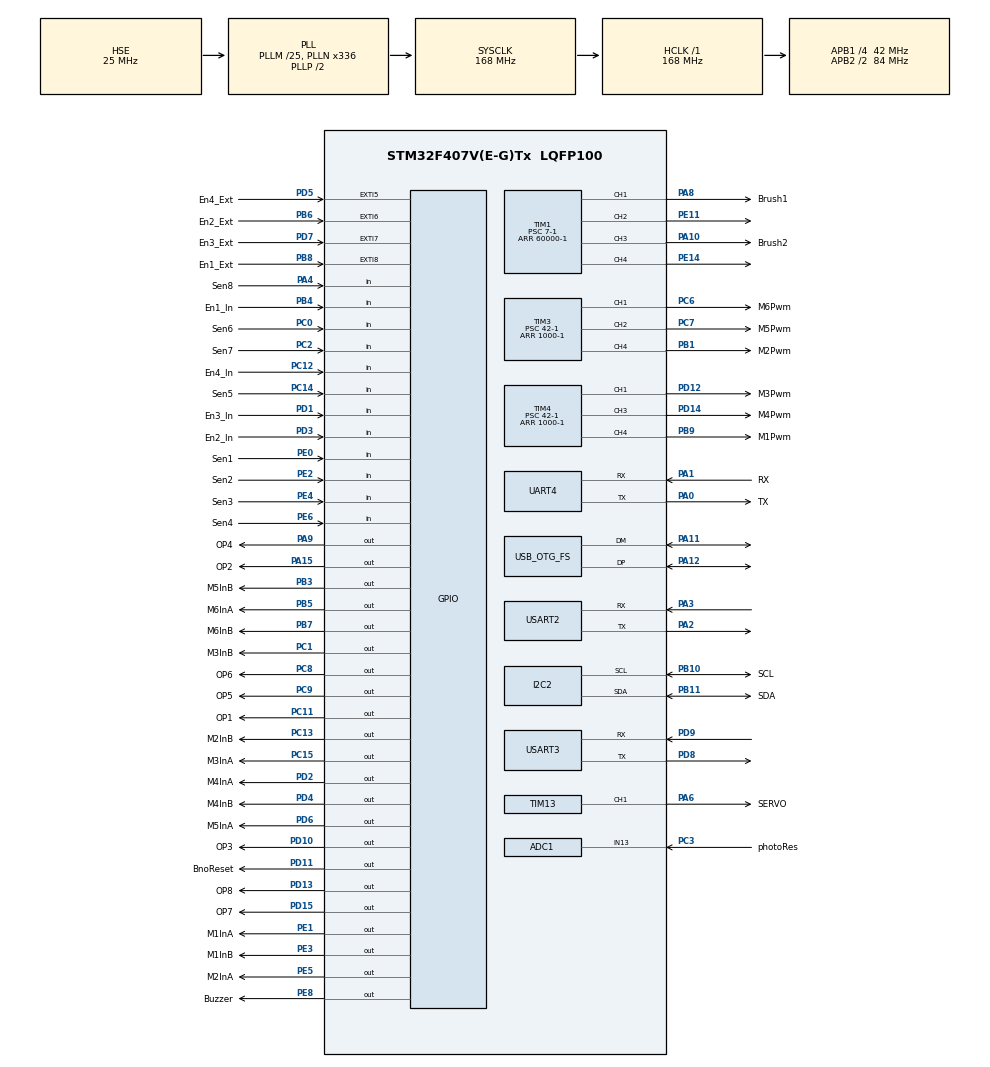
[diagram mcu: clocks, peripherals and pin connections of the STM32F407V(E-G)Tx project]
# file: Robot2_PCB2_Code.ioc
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ADC1.Channel-0\#ChannelRegularConversion=ADC_CHANNEL_13
ADC1.NbrOfConversionFlag=1
ADC1.Rank-0\#ChannelRegularConversion=1
ADC1.SamplingTime-0\#ChannelRegularConversion=ADC_SAMPLETIME_3CYCLES
ADC1.master=1
Dma.Request0=UART4_TX
Dma.UART4_TX.0.Direction=DMA_MEMORY_TO_PERIPH
Dma.UART4_TX.0.FIFOMode=DMA_FIFOMODE_DISABLE
Dma.UART4_TX.0.Instance=DMA1_Stream4
Dma.UART4_TX.0.MemDataAlignment=DMA_MDATAALIGN_BYTE
Dma.UART4_TX.0.MemInc=DMA_MINC_ENABLE
Dma.UART4_TX.0.Mode=DMA_NORMAL
Dma.UART4_TX.0.PeriphDataAlignment=DMA_PDATAALIGN_BYTE
Dma.UART4_TX.0.PeriphInc=DMA_PINC_DISABLE
Dma.UART4_TX.0.Priority=DMA_PRIORITY_LOW
I2C2.I2C_Mode=I2C_Fast
Mcu.Family=STM32F4
Mcu.Name=STM32F407V(E-G)Tx
Mcu.Package=LQFP100
NVIC.DMA1_Stream4_IRQn=true\:0\:0\:false\:false\:true\:false\:true\:true
NVIC.EXTI9_5_IRQn=true\:0\:0\:false\:false\:true\:true\:true\:true
NVIC.OTG_FS_IRQn=true\:0\:0\:false\:false\:true\:false\:true\:true
NVIC.PriorityGroup=NVIC_PRIORITYGROUP_4
NVIC.TIM7_IRQn=true\:0\:0\:false\:false\:true\:true\:true\:true
NVIC.USART2_IRQn=true\:0\:0\:false\:false\:true\:true\:true\:true
NVIC.USART3_IRQn=true\:0\:0\:false\:false\:true\:true\:true\:true
PA0-WKUP.GPIO_Label=TX
PA0-WKUP.Mode=Asynchronous
PA0-WKUP.Signal=UART4_TX
PA1.GPIO_Label=RX
PA1.Mode=Asynchronous
PA1.Signal=UART4_RX
PA10.GPIO_Label=Brush2
PA10.Signal=S_TIM1_CH3
PA11.Mode=Device_Only
PA11.Signal=USB_OTG_FS_DM
PA12.Mode=Device_Only
PA12.Signal=USB_OTG_FS_DP
PA13.Mode=Serial_Wire
PA13.Signal=SYS_JTMS-SWDIO
PA14.Mode=Serial_Wire
PA14.Signal=SYS_JTCK-SWCLK
PA15.GPIO_Label=OP2
PA15.Signal=GPIO_Output
PA2.Mode=Asynchronous
PA2.Signal=USART2_TX
PA3.Mode=Asynchronous
PA3.Signal=USART2_RX
PA4.GPIO_Label=Sen8
PA4.GPIO_PuPd=GPIO_PULLUP
PA4.Signal=GPIO_Input
PA6.GPIO_Label=SERVO
PA6.Signal=S_TIM13_CH1
PA8.GPIO_Label=Brush1
PA8.Signal=S_TIM1_CH1
PA9.GPIO_Label=OP4
PA9.Signal=GPIO_Output
PB1.GPIO_Label=M2Pwm
PB1.Signal=S_TIM3_CH4
PB10.GPIO_Label=SCL
PB10.Mode=I2C
PB10.Signal=I2C2_SCL
PB11.GPIO_Label=SDA
PB11.Mode=I2C
PB11.Signal=I2C2_SDA
PB3.GPIO_Label=M5InB
PB3.Signal=GPIO_Output
PB4.GPIO_Label=En1_In
PB4.GPIO_PuPd=GPIO_PULLUP
PB4.Signal=GPIO_Input
PB5.GPIO_Label=M6InA
PB5.Signal=GPIO_Output
PB6.GPIO_Label=En2_Ext
PB6.GPIO_ModeDefaultEXTI=GPIO_MODE_IT_RISING
PB6.Signal=GPXTI6
PB7.GPIO_Label=M6InB
PB7.Signal=GPIO_Output
PB8.GPIO_Label=En1_Ext
PB8.Signal=GPXTI8
PB9.GPIO_Label=M1Pwm
PB9.Signal=S_TIM4_CH4
PC0.GPIO_Label=Sen6
PC0.GPIO_PuPd=GPIO_PULLUP
PC0.Signal=GPIO_Input
PC1.GPIO_Label=M3InB
PC1.Signal=GPIO_Output
PC11.GPIO_Label=OP1
PC11.Signal=GPIO_Output
PC12.GPIO_Label=En4_In
PC12.GPIO_PuPd=GPIO_PULLUP
PC12.Signal=GPIO_Input
PC13-ANTI_TAMP.GPIO_Label=M2InB
PC13-ANTI_TAMP.Signal=GPIO_Output
PC14-OSC32_IN.GPIO_Label=Sen5
PC14-OSC32_IN.GPIO_PuPd=GPIO_PULLUP
PC14-OSC32_IN.Signal=GPIO_Input
PC15-OSC32_OUT.GPIO_Label=M3InA
PC15-OSC32_OUT.Signal=GPIO_Output
PC2.GPIO_Label=Sen7
PC2.GPIO_PuPd=GPIO_PULLUP
PC2.Signal=GPIO_Input
PC3.GPIO_Label=photoRes
PC3.Signal=SharedAnalog_PC3
PC6.GPIO_Label=M6Pwm
PC6.Signal=S_TIM3_CH1
PC7.GPIO_Label=M5Pwm
PC7.Signal=S_TIM3_CH2
PC8.GPIO_Label=OP6
PC8.Signal=GPIO_Output
PC9.GPIO_Label=OP5
PC9.Signal=GPIO_Output
PD1.GPIO_Label=En3_In
PD1.GPIO_PuPd=GPIO_PULLUP
PD1.Signal=GPIO_Input
PD10.GPIO_Label=OP3
PD10.Signal=GPIO_Output
PD11.GPIO_Label=BnoReset
PD11.Signal=GPIO_Output
PD12.GPIO_Label=M3Pwm
PD12.Signal=S_TIM4_CH1
PD13.GPIO_Label=OP8
PD13.Signal=GPIO_Output
PD14.GPIO_Label=M4Pwm
PD14.Signal=S_TIM4_CH3
PD15.GPIO_Label=OP7
PD15.Signal=GPIO_Output
PD2.GPIO_Label=M4InA
PD2.Signal=GPIO_Output
PD3.GPIO_Label=En2_In
PD3.GPIO_PuPd=GPIO_PULLUP
PD3.Signal=GPIO_Input
PD4.GPIO_Label=M4InB
PD4.Signal=GPIO_Output
PD5.GPIO_Label=En4_Ext
PD5.Signal=GPXTI5
PD6.GPIO_Label=M5InA
PD6.Signal=GPIO_Output
PD7.GPIO_Label=En3_Ext
PD7.Signal=GPXTI7
PD8.Mode=Asynchronous
PD8.Signal=USART3_TX
PD9.Mode=Asynchronous
PD9.Signal=USART3_RX
PE0.GPIO_Label=Sen1
PE0.GPIO_PuPd=GPIO_PULLUP
PE0.Signal=GPIO_Input
PE1.GPIO_Label=M1InA
PE1.Signal=GPIO_Output
PE11.Signal=S_TIM1_CH2
PE14.Signal=S_TIM1_CH4
PE2.GPIO_Label=Sen2
PE2.GPIO_PuPd=GPIO_PULLUP
PE2.Signal=GPIO_Input
PE3.GPIO_Label=M1InB
PE3.Signal=GPIO_Output
PE4.GPIO_Label=Sen3
PE4.GPIO_PuPd=GPIO_PULLUP
PE4.Signal=GPIO_Input
PE5.GPIO_Label=M2InA
PE5.Signal=GPIO_Output
PE6.GPIO_Label=Sen4
PE6.GPIO_PuPd=GPIO_PULLUP
PE6.Signal=GPIO_Input
PE8.GPIO_Label=Buzzer
PE8.Signal=GPIO_Output
PH0-OSC_IN.Mode=HSE-External-Oscillator
PH0-OSC_IN.Signal=RCC_OSC_IN
PH1-OSC_OUT.Mode=HSE-External-Oscillator
PH1-OSC_OUT.Signal=RCC_OSC_OUT
ProjectManager.HeapSize=0x200
ProjectManager.StackSize=0x400
ProjectManager.TargetToolchain=CMake
RCC.48MHZClocksFreq_Value=48000000
RCC.AHBFreq_Value=168000000
RCC.APB1CLKDivider=RCC_HCLK_DIV4
RCC.APB1Freq_Value=42000000
RCC.APB1TimFreq_Value=84000000
RCC.APB2CLKDivider=RCC_HCLK_DIV2
RCC.APB2Freq_Value=84000000
RCC.APB2TimFreq_Value=168000000
RCC.CortexFreq_Value=168000000
RCC.HCLKFreq_Value=168000000
RCC.HSE_VALUE=25000000
RCC.HSI_VALUE=16000000
RCC.LSE_VALUE=32768
RCC.PLLM=25
RCC.PLLN=336
RCC.PLLQ=7
RCC.SYSCLKFreq_VALUE=168000000
RCC.SYSCLKSource=RCC_SYSCLKSOURCE_PLLCLK
RCC.VCOOutputFreq_Value=336000000
SH.S_TIM13_CH1.0=TIM13_CH1,PWM Generation1 CH1
SH.S_TIM1_CH1.0=TIM1_CH1,PWM Generation1 CH1
SH.S_TIM1_CH2.0=TIM1_CH2,PWM Generation2 CH2
SH.S_TIM1_CH3.0=TIM1_CH3,PWM Generation3 CH3
SH.S_TIM1_CH4.0=TIM1_CH4,PWM Generation4 CH4
SH.S_TIM3_CH1.0=TIM3_CH1,PWM Generation1 CH1
SH.S_TIM3_CH2.0=TIM3_CH2,PWM Generation2 CH2
SH.S_TIM3_CH4.0=TIM3_CH4,PWM Generation4 CH4
SH.S_TIM4_CH1.0=TIM4_CH1,PWM Generation1 CH1
SH.S_TIM4_CH3.0=TIM4_CH3,PWM Generation3 CH3
SH.S_TIM4_CH4.0=TIM4_CH4,PWM Generation4 CH4
SH.SharedAnalog_PC3.0=GPIO_Analog
SH.SharedAnalog_PC3.1=ADC1_IN13,IN13
TIM1.Channel-PWM\ Generation1\ CH1=TIM_CHANNEL_1
TIM1.Channel-PWM\ Generation2\ CH2=TIM_CHANNEL_2
TIM1.Channel-PWM\ Generation3\ CH3=TIM_CHANNEL_3
TIM1.Channel-PWM\ Generation4\ CH4=TIM_CHANNEL_4
TIM1.Period=60000-1
TIM1.Prescaler=7-1
TIM13.Channel=TIM_CHANNEL_1
TIM13.Period=19999
TIM13.Prescaler=83
TIM13.Pulse=1500
TIM3.Channel-PWM\ Generation1\ CH1=TIM_CHANNEL_1
TIM3.Channel-PWM\ Generation2\ CH2=TIM_CHANNEL_2
TIM3.Channel-PWM\ Generation4\ CH4=TIM_CHANNEL_4
TIM3.Period=1000-1
TIM3.Prescaler=42-1
TIM4.Channel-PWM\ Generation1\ CH1=TIM_CHANNEL_1
TIM4.Channel-PWM\ Generation3\ CH3=TIM_CHANNEL_3
TIM4.Channel-PWM\ Generation4\ CH4=TIM_CHANNEL_4
TIM4.Period=1000-1
TIM4.Prescaler=42-1
TIM7.Period=1000-1
TIM7.Prescaler=42-1
UART4.VirtualMode=Asynchronous
USART2.VirtualMode=VM_ASYNC
USART3.VirtualMode=VM_ASYNC
USB_DEVICE.CLASS_NAME_FS=CDC
USB_DEVICE.VirtualMode-CDC_FS=Cdc
USB_DEVICE.VirtualModeFS=Cdc_FS
USB_OTG_FS.VirtualMode=Device_Only
VP_TIM13_VS_ClockSourceINT.Mode=Enable_Timer
VP_TIM1_VS_ClockSourceINT.Mode=Internal
VP_TIM4_VS_ClockSourceINT.Mode=Internal
VP_TIM7_VS_ClockSourceINT.Mode=Enable_Timer
VP_USB_DEVICE_VS_USB_DEVICE_CDC_FS.Mode=CDC_FS
board=custom

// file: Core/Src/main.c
/* USER CODE BEGIN Header */
/**
 ******************************************************************************
 * @file           : main.c
 * @brief          : Main program body
 ******************************************************************************
 * @attention
 *
 * Copyright (c) 2025 STMicroelectronics.
 * All rights reserved.
 *
 * This software is licensed under terms that can be found in the LICENSE file
 * in the root directory of this software component.
 * If no LICENSE file comes with this software, it is provided AS-IS.
 *
 ******************************************************************************
 */
/* USER CODE END Header */
#include "main.h"
#include "usb_device.h"

/* USER CODE BEGIN Includes */
#include "general.h"
#include "test.h"
#include <stdio.h>
/* USER CODE END Includes */

ADC_HandleTypeDef hadc1;

I2C_HandleTypeDef hi2c2;

TIM_HandleTypeDef htim1;
TIM_HandleTypeDef htim3;
TIM_HandleTypeDef htim4;
TIM_HandleTypeDef htim7;
TIM_HandleTypeDef htim13;

UART_HandleTypeDef huart4;
UART_HandleTypeDef huart2;
UART_HandleTypeDef huart3;
DMA_HandleTypeDef hdma_uart4_tx;

void SystemClock_Config(void);
static void MX_GPIO_Init(void);
static void MX_DMA_Init(void);
static void MX_I2C2_Init(void);
static void MX_TIM1_Init(void);
static void MX_UART4_Init(void);
static void MX_USART3_UART_Init(void);
static void MX_TIM3_Init(void);
static void MX_TIM4_Init(void);
static void MX_TIM7_Init(void);
static void MX_TIM13_Init(void);
static void MX_ADC1_Init(void);
static void MX_USART2_UART_Init(void);
/* USER CODE BEGIN PFP */

int control_data[5][4] = {0};

void send_DMA(uint8_t command) {
  HAL_UART_Transmit(&huart4, &command, 1, HAL_MAX_DELAY);
}
uint8_t information[23]; // шинэ урт
uint8_t rx_idx = 0;
uint8_t data;

/* ---- USART2: 1-р PCB-ээс ирэх PS5 багц (PA3 = RX) ----------------------- */
uint8_t link_byte = 0;             // HAL-ийн RX буфер (1 байт)
volatile uint32_t link_byte_n = 0; // нийт ирсэн байт (утас/baud шалгах)
volatile uint32_t link_pkt = 0;    // бүрэн задарсан багц (framing шалгах)
volatile uint32_t link_ms = 0; // сүүлийн БАГЦ ирсэн агшин (хуучирсныг мэдэх)

/* ---- PCB1-ээс GRAB команд [0xC1][0xC2][type][0x0A] (PS5-тэй нэг шугам) ----
 */
volatile uint8_t grab_request =
    0; // 1 = PCB1 grab хүслээ (Tactic_Task боловсруулна)
volatile uint8_t grab_type = 0;    // 0 = down_20, 1 = up_20 (платформ)
static uint8_t grab_cmd_state = 0; // командын задлагчийн төлөв
static uint8_t grab_type_rx =
    0; // задлаж буй төрөл (терминаторт grab_type-д хийнэ)

/* ---- PCB1-ээс QUERY команд [0xC3][block][0x0A] — "энд grab уу?" --------- */
volatile uint8_t query_request = 0; // 1 = PCB1 асуув (Tactic_Task хариулна)
volatile uint8_t query_block = 0;   // асуусан блок (1..12)
static uint8_t query_cmd_state = 0;
static uint8_t query_block_tmp = 0;

/* -----------------------------------------------------------------------------
 *  HAL_UART_RxCpltCallback — ESP32-оос ирсэн PS5 багцыг задлах (huart3, 1
 * байт/удаа)
 *
 *  Багц: 23 байт,  [0]=0xAA (START) ... [22]=0x0A (END),  [21]=холболтын флаг.
 *  START байт хүлээж, 23 байт бүрдэхэд задалж control_data[5][4]-д хийнэ.
 *
 *  ─ Джойстик (information[1..4] − 100 → control_data[0][0..3], утга −100..100)
 * ─ control_data[0][0] = Зүүн стик X       control_data[0][2] = Баруун стик X
 *      control_data[0][1] = Зүүн стик Y       control_data[0][3] = Баруун стик
 * Y
 *
 *  ─ Товч (information[5..20] → control_data[1..4][0..3], утга 0/1) ─
 *      control_data[1][0]=Cross    [1][1]=Square   [1][2]=Triangle
 * [1][3]=Circle control_data[2][0]=D-Down   [2][1]=D-Right  [2][2]=D-Up
 * [2][3]=D-Left control_data[3][0]=L1       [3][1]=R1       [3][2]=L2 [3][3]=R2
 *      control_data[4][0]=Share    [4][1]=Options  [4][2]=L3       [4][3]=R3
 *
 *  Холбогдоогүй (флаг = 0) бол бүх утгыг 0 болгож цэвэрлэнэ.
 * -----------------------------------------------------------------------------
 */
/* -----------------------------------------------------------------------------
 *  ps5_feed — Нэг байтыг PS5 багц задлагчид оруулах (framing state machine)
 *
 *  USART2 (1-р PCB-ээс) ба USART3 (ESP32) хоёуланд НИЙТЛЭГ. Энэ самбарт PS5-ийн
 *  донгл БАЙХГҮЙ — өгөгдөл нь 1-р PCB-ээс дамжиж ирнэ. PCB1 нь ESP32-оос ирсэн
 *  23 байтыг ЯГ ТЭР ХЭВЭЭР нь дамжуулдаг тул задлагч НЭГ Л ХУВИЛБАР байна —
 *  хоёр газар тусад нь бичвэл хожим формат зөрөх эрсдэлтэй.
 * -----------------------------------------------------------------------------
 */
static void ps5_feed(uint8_t b) {
  if (rx_idx == 0 && b != 0xAA)
    return; // START хүлээж байна

  information[rx_idx++] = b;

  if (rx_idx == 23 && information[22] == 0x0A) {
    uint8_t isConnected = information[21];

    if (isConnected == 1) {
      // --- Джойстик: information[1..4] → control_data[0][0..3], төв 100-г
      // хасаж -100..100 ---
      //   [0][0]=LStickX  [0][1]=LStickY  [0][2]=RStickX  [0][3]=RStickY
      for (int i = 0; i < 4; i++) {
        control_data[0][i] = information[1 + i] - 100;
      }

      // --- Товч: information[5..20] → control_data[1..4][0..3] (0/1) ---
      //   мөр 1 = Cross/Square/Triangle/Circle
      //   мөр 2 = D-pad Down/Right/Up/Left
      //   мөр 3 = L1/R1/L2/R2
      //   мөр 4 = Share/Options/L3/R3
      for (int i = 0; i < 16; i++) {
        control_data[1 + (i / 4)][i % 4] = information[5 + i];
      }

    } else {
      // --- Холбогдоогүй: бүх джойстик/товчийг тэглэх ---
      for (int i = 0; i < 5; i++) {
        for (int j = 0; j < 4; j++) {
          control_data[i][j] = 0;
        }
      }
    }

    link_pkt++; // бүрэн багц (Link_Recv_Test харуулна)
    link_ms = HAL_GetTick();
    rx_idx = 0;
  } else if (rx_idx >= 23) {
    rx_idx = 0; // урт таарсан ч END байт буруу → хаяна
  }
}

void HAL_UART_RxCpltCallback(UART_HandleTypeDef *huart) {
  if (huart == &huart3) {
    /* --- ЭНЭ САМБАРЫН ESP32 (USART3) — ОДОО АШИГЛАХГҮЙ ---
     *  PS5 удирдлага PCB1-ээс USART2-оор ирдэг. Тактик нь PCB1-ийн joystick-аар
     *  (control_data) энэ самбарт засагдаж, route-ыг USART2 TX-ээр PCB1 руу
     *  буцаадаг. huart3-ыг зөвхөн соруулж (drain) дахин зэвсэглэнэ. */
    HAL_UART_Receive_IT(&huart3, &data, 1);
  } else if (huart == &huart2) {
    /* --- 1-р PCB-ээс ирэх PS5 багц (USART2, PA3) — ҮНДСЭН УДИРДЛАГА ---
     *  PCB1 нь ESP32-оос ирсэн 23 байтыг ЯГ ТЭР ХЭВЭЭР нь дамжуулдаг тул ижил
     *  задлагчаар (ps5_feed) шууд control_data-д хийж болно — формат хэзээ ч
     *  зөрөхгүй. Ингэснээр PCB2_Manual (case 0) энэ control_data-г уншиж
     *  моторуудаа хөдөлгөнө.
     *
     *  link_byte_n — түүхий байт тоологч (утас/baud шалгах); link_pkt-ыг
     *  ps5_feed бүрэн багц бүрдэхэд өсгөнө. */

    /* GRAB команд [0xC1][0xC2][type][0x0A]-ыг ялгах (PS5 багцууд хооронд ирнэ)
     */
    switch (grab_cmd_state) {
    case 0:
      grab_cmd_state = (link_byte == 0xC1) ? 1 : 0;
      break;
    case 1:
      grab_cmd_state = (link_byte == 0xC2) ? 2 : (link_byte == 0xC1 ? 1 : 0);
      break;
    case 2:
      grab_type_rx = link_byte;
      grab_cmd_state = 3;
      break; // төрөл байт (0=down 1=up)
    default:
      if (link_byte == 0x0A) {
        grab_request = 1;
        grab_type = grab_type_rx;
      }
      grab_cmd_state = 0;
      break;
    }

    /* QUERY команд [0xC3][block][0x0A] — "энэ блок дээр grab уу?" */
    switch (query_cmd_state) {
    case 0:
      query_cmd_state = (link_byte == 0xC3) ? 1 : 0;
      break;
    case 1:
      query_block_tmp = link_byte;
      query_cmd_state = 2;
      break;
    default:
      if (link_byte == 0x0A) {
        query_block = query_block_tmp;
        query_request = 1;
      }
      query_cmd_state = 0;
      break;
    }

    ps5_feed(link_byte);
    link_byte_n++;
    link_ms = HAL_GetTick();
    HAL_UART_Receive_IT(&huart2, &link_byte, 1);
  }
}

/* USER CODE END PFP */

/* USER CODE BEGIN 0 */

extern int timer;
extern int counter[4];

uint8_t usb_received_value = 0;
uint8_t usb_new_data_flag = 0;

/* USER CODE END 0 */

int main(void) {

  /* MCU Configuration--------------------------------------------------------*/

  /* Reset of all peripherals, Initializes the Flash interface and the Systick.
   */

  HAL_Init();

  /* Configure the system clock */
  SystemClock_Config();

  /* Initialize all configured peripherals */
  MX_GPIO_Init();
  MX_DMA_Init();
  MX_I2C2_Init();
  MX_TIM1_Init();
  MX_UART4_Init();
  MX_USART3_UART_Init();
  MX_TIM3_Init();
  MX_TIM4_Init();
  MX_TIM7_Init();
  MX_TIM13_Init();
  MX_ADC1_Init();
  MX_USB_DEVICE_Init();
  MX_USART2_UART_Init();
  /* USER CODE BEGIN 2 */
  generalInit();

  /* USART2 (PA3) — 1-р PCB-ээс өгөгдөл хүлээж эхлэх. generalInit нь зөвхөн
     huart3-ыг (PS5/ESP32) зэвсэглэдэг тул үүнийг энд тусад нь хийнэ.      */
  HAL_UART_Receive_IT(&huart2, &link_byte, 1);

  /* ===== ГОРИМ СОНГОХ =====
   *  Share = дараах горим,  Options = сонгох.  БУЦАХГҮЙ — сонгосон горим
   *  өөрийн while(true)-д үлдэнэ. Мөн энэ нь эхлүүлэх хамгаалалт болно:
   *  robot тэжээл өгмөгц дүүлэхгүй, товч дартал хүлээнэ.                    */
  selectMode();
  /* USER CODE END 2 */

  /* Infinite loop */
  /* USER CODE BEGIN WHILE */

  /* selectMode() БУЦАХГҮЙ — горим бүр өөрийн while(true)-д үлддэг.
     Энд хүрэх нь зөвхөн ямар нэг зүйл буруудсан гэсэн үг.               */
  while (1) {
  }
  /* USER CODE END WHILE */

}

void SystemClock_Config(void) {
  RCC_OscInitTypeDef RCC_OscInitStruct = {0};
  RCC_ClkInitTypeDef RCC_ClkInitStruct = {0};

  /** Configure the main internal regulator output voltage
   */
  __HAL_RCC_PWR_CLK_ENABLE();
  __HAL_PWR_VOLTAGESCALING_CONFIG(PWR_REGULATOR_VOLTAGE_SCALE1);

  /** Initializes the RCC Oscillators according to the specified parameters
   * in the RCC_OscInitTypeDef structure.
   */
  RCC_OscInitStruct.OscillatorType = RCC_OSCILLATORTYPE_HSE;
  RCC_OscInitStruct.HSEState = RCC_HSE_ON;
  RCC_OscInitStruct.PLL.PLLState = RCC_PLL_ON;
  RCC_OscInitStruct.PLL.PLLSource = RCC_PLLSOURCE_HSE;
  RCC_OscInitStruct.PLL.PLLM = 25;
  RCC_OscInitStruct.PLL.PLLN = 336;
  RCC_OscInitStruct.PLL.PLLP = RCC_PLLP_DIV2;
  RCC_OscInitStruct.PLL.PLLQ = 7;
  if (HAL_RCC_OscConfig(&RCC_OscInitStruct) != HAL_OK) {
    Error_Handler();
  }

  /** Initializes the CPU, AHB and APB buses clocks
   */
  RCC_ClkInitStruct.ClockType = RCC_CLOCKTYPE_HCLK | RCC_CLOCKTYPE_SYSCLK |
                                RCC_CLOCKTYPE_PCLK1 | RCC_CLOCKTYPE_PCLK2;
  RCC_ClkInitStruct.SYSCLKSource = RCC_SYSCLKSOURCE_PLLCLK;
  RCC_ClkInitStruct.AHBCLKDivider = RCC_SYSCLK_DIV1;
  RCC_ClkInitStruct.APB1CLKDivider = RCC_HCLK_DIV4;
  RCC_ClkInitStruct.APB2CLKDivider = RCC_HCLK_DIV2;

  if (HAL_RCC_ClockConfig(&RCC_ClkInitStruct, FLASH_LATENCY_5) != HAL_OK) {
    Error_Handler();
  }
}

static void MX_ADC1_Init(void) {

  ADC_ChannelConfTypeDef sConfig = {0};

  /** Configure the global features of the ADC (Clock, Resolution, Data
   * Alignment and number of conversion)
   */
  hadc1.Instance = ADC1;
  hadc1.Init.ClockPrescaler = ADC_CLOCK_SYNC_PCLK_DIV4;
  hadc1.Init.Resolution = ADC_RESOLUTION_12B;
  hadc1.Init.ScanConvMode = DISABLE;
  hadc1.Init.ContinuousConvMode = DISABLE;
  hadc1.Init.DiscontinuousConvMode = DISABLE;
  hadc1.Init.ExternalTrigConvEdge = ADC_EXTERNALTRIGCONVEDGE_NONE;
  hadc1.Init.ExternalTrigConv = ADC_SOFTWARE_START;
  hadc1.Init.DataAlign = ADC_DATAALIGN_RIGHT;
  hadc1.Init.NbrOfConversion = 1;
  hadc1.Init.DMAContinuousRequests = DISABLE;
  hadc1.Init.EOCSelection = ADC_EOC_SINGLE_CONV;
  if (HAL_ADC_Init(&hadc1) != HAL_OK) {
    Error_Handler();
  }

  /** Configure for the selected ADC regular channel its corresponding rank in
   * the sequencer and its sample time.
   */
  sConfig.Channel = ADC_CHANNEL_13;
  sConfig.Rank = 1;
  sConfig.SamplingTime = ADC_SAMPLETIME_3CYCLES;
  if (HAL_ADC_ConfigChannel(&hadc1, &sConfig) != HAL_OK) {
    Error_Handler();
  }
}

static void MX_I2C2_Init(void) {

  hi2c2.Instance = I2C2;
  hi2c2.Init.ClockSpeed = 400000;
  hi2c2.Init.DutyCycle = I2C_DUTYCYCLE_2;
  hi2c2.Init.OwnAddress1 = 0;
  hi2c2.Init.AddressingMode = I2C_ADDRESSINGMODE_7BIT;
  hi2c2.Init.DualAddressMode = I2C_DUALADDRESS_DISABLE;
  hi2c2.Init.OwnAddress2 = 0;
  hi2c2.Init.GeneralCallMode = I2C_GENERALCALL_DISABLE;
  hi2c2.Init.NoStretchMode = I2C_NOSTRETCH_DISABLE;
  if (HAL_I2C_Init(&hi2c2) != HAL_OK) {
    Error_Handler();
  }
}

static void MX_TIM1_Init(void) {

  TIM_ClockConfigTypeDef sClockSourceConfig = {0};
  TIM_MasterConfigTypeDef sMasterConfig = {0};
  TIM_OC_InitTypeDef sConfigOC = {0};
  TIM_BreakDeadTimeConfigTypeDef sBreakDeadTimeConfig = {0};

  htim1.Instance = TIM1;
  htim1.Init.Prescaler = 7 - 1;
  htim1.Init.CounterMode = TIM_COUNTERMODE_UP;
  htim1.Init.Period = 60000 - 1;
  htim1.Init.ClockDivision = TIM_CLOCKDIVISION_DIV1;
  htim1.Init.RepetitionCounter = 0;
  htim1.Init.AutoReloadPreload = TIM_AUTORELOAD_PRELOAD_DISABLE;
  if (HAL_TIM_Base_Init(&htim1) != HAL_OK) {
    Error_Handler();
  }
  sClockSourceConfig.ClockSource = TIM_CLOCKSOURCE_INTERNAL;
  if (HAL_TIM_ConfigClockSource(&htim1, &sClockSourceConfig) != HAL_OK) {
    Error_Handler();
  }
  if (HAL_TIM_PWM_Init(&htim1) != HAL_OK) {
    Error_Handler();
  }
  sMasterConfig.MasterOutputTrigger = TIM_TRGO_RESET;
  sMasterConfig.MasterSlaveMode = TIM_MASTERSLAVEMODE_DISABLE;
  if (HAL_TIMEx_MasterConfigSynchronization(&htim1, &sMasterConfig) != HAL_OK) {
    Error_Handler();
  }
  sConfigOC.OCMode = TIM_OCMODE_PWM1;
  sConfigOC.Pulse = 0;
  sConfigOC.OCPolarity = TIM_OCPOLARITY_HIGH;
  sConfigOC.OCNPolarity = TIM_OCNPOLARITY_HIGH;
  sConfigOC.OCFastMode = TIM_OCFAST_DISABLE;
  sConfigOC.OCIdleState = TIM_OCIDLESTATE_RESET;
  sConfigOC.OCNIdleState = TIM_OCNIDLESTATE_RESET;
  if (HAL_TIM_PWM_ConfigChannel(&htim1, &sConfigOC, TIM_CHANNEL_1) != HAL_OK) {
    Error_Handler();
  }
  if (HAL_TIM_PWM_ConfigChannel(&htim1, &sConfigOC, TIM_CHANNEL_2) != HAL_OK) {
    Error_Handler();
  }
  if (HAL_TIM_PWM_ConfigChannel(&htim1, &sConfigOC, TIM_CHANNEL_3) != HAL_OK) {
    Error_Handler();
  }
  if (HAL_TIM_PWM_ConfigChannel(&htim1, &sConfigOC, TIM_CHANNEL_4) != HAL_OK) {
    Error_Handler();
  }
  sBreakDeadTimeConfig.OffStateRunMode = TIM_OSSR_DISABLE;
  sBreakDeadTimeConfig.OffStateIDLEMode = TIM_OSSI_DISABLE;
  sBreakDeadTimeConfig.LockLevel = TIM_LOCKLEVEL_OFF;
  sBreakDeadTimeConfig.DeadTime = 0;
  sBreakDeadTimeConfig.BreakState = TIM_BREAK_DISABLE;
  sBreakDeadTimeConfig.BreakPolarity = TIM_BREAKPOLARITY_HIGH;
  sBreakDeadTimeConfig.AutomaticOutput = TIM_AUTOMATICOUTPUT_DISABLE;
  if (HAL_TIMEx_ConfigBreakDeadTime(&htim1, &sBreakDeadTimeConfig) != HAL_OK) {
    Error_Handler();
  }
  HAL_TIM_MspPostInit(&htim1);
}

static void MX_TIM3_Init(void) {

  TIM_MasterConfigTypeDef sMasterConfig = {0};
  TIM_OC_InitTypeDef sConfigOC = {0};

  htim3.Instance = TIM3;
  htim3.Init.Prescaler = 42 - 1;
  htim3.Init.CounterMode = TIM_COUNTERMODE_UP;
  htim3.Init.Period = 1000 - 1;
  htim3.Init.ClockDivision = TIM_CLOCKDIVISION_DIV1;
  htim3.Init.AutoReloadPreload = TIM_AUTORELOAD_PRELOAD_DISABLE;
  if (HAL_TIM_PWM_Init(&htim3) != HAL_OK) {
    Error_Handler();
  }
  sMasterConfig.MasterOutputTrigger = TIM_TRGO_RESET;
  sMasterConfig.MasterSlaveMode = TIM_MASTERSLAVEMODE_DISABLE;
  if (HAL_TIMEx_MasterConfigSynchronization(&htim3, &sMasterConfig) != HAL_OK) {
    Error_Handler();
  }
  sConfigOC.OCMode = TIM_OCMODE_PWM1;
  sConfigOC.Pulse = 0;
  sConfigOC.OCPolarity = TIM_OCPOLARITY_HIGH;
  sConfigOC.OCFastMode = TIM_OCFAST_DISABLE;
  if (HAL_TIM_PWM_ConfigChannel(&htim3, &sConfigOC, TIM_CHANNEL_1) != HAL_OK) {
    Error_Handler();
  }
  if (HAL_TIM_PWM_ConfigChannel(&htim3, &sConfigOC, TIM_CHANNEL_2) != HAL_OK) {
    Error_Handler();
  }
  if (HAL_TIM_PWM_ConfigChannel(&htim3, &sConfigOC, TIM_CHANNEL_4) != HAL_OK) {
    Error_Handler();
  }
  HAL_TIM_MspPostInit(&htim3);
}

static void MX_TIM4_Init(void) {

  TIM_ClockConfigTypeDef sClockSourceConfig = {0};
  TIM_MasterConfigTypeDef sMasterConfig = {0};
  TIM_OC_InitTypeDef sConfigOC = {0};

  htim4.Instance = TIM4;
  htim4.Init.Prescaler = 42 - 1;
  htim4.Init.CounterMode = TIM_COUNTERMODE_UP;
  htim4.Init.Period = 1000 - 1;
  htim4.Init.ClockDivision = TIM_CLOCKDIVISION_DIV1;
  htim4.Init.AutoReloadPreload = TIM_AUTORELOAD_PRELOAD_DISABLE;
  if (HAL_TIM_Base_Init(&htim4) != HAL_OK) {
    Error_Handler();
  }
  sClockSourceConfig.ClockSource = TIM_CLOCKSOURCE_INTERNAL;
  if (HAL_TIM_ConfigClockSource(&htim4, &sClockSourceConfig) != HAL_OK) {
    Error_Handler();
  }
  if (HAL_TIM_PWM_Init(&htim4) != HAL_OK) {
    Error_Handler();
  }
  sMasterConfig.MasterOutputTrigger = TIM_TRGO_RESET;
  sMasterConfig.MasterSlaveMode = TIM_MASTERSLAVEMODE_DISABLE;
  if (HAL_TIMEx_MasterConfigSynchronization(&htim4, &sMasterConfig) != HAL_OK) {
    Error_Handler();
  }
  sConfigOC.OCMode = TIM_OCMODE_PWM1;
  sConfigOC.Pulse = 0;
  sConfigOC.OCPolarity = TIM_OCPOLARITY_HIGH;
  sConfigOC.OCFastMode = TIM_OCFAST_DISABLE;
  if (HAL_TIM_PWM_ConfigChannel(&htim4, &sConfigOC, TIM_CHANNEL_1) != HAL_OK) {
    Error_Handler();
  }
  if (HAL_TIM_PWM_ConfigChannel(&htim4, &sConfigOC, TIM_CHANNEL_3) != HAL_OK) {
    Error_Handler();
  }
  if (HAL_TIM_PWM_ConfigChannel(&htim4, &sConfigOC, TIM_CHANNEL_4) != HAL_OK) {
    Error_Handler();
  }
  HAL_TIM_MspPostInit(&htim4);
}

static void MX_TIM7_Init(void) {

  TIM_MasterConfigTypeDef sMasterConfig = {0};

  htim7.Instance = TIM7;
  htim7.Init.Prescaler = 42 - 1;
  htim7.Init.CounterMode = TIM_COUNTERMODE_UP;
  htim7.Init.Period = 1000 - 1;
  htim7.Init.AutoReloadPreload = TIM_AUTORELOAD_PRELOAD_DISABLE;
  if (HAL_TIM_Base_Init(&htim7) != HAL_OK) {
    Error_Handler();
  }
  sMasterConfig.MasterOutputTrigger = TIM_TRGO_RESET;
  sMasterConfig.MasterSlaveMode = TIM_MASTERSLAVEMODE_DISABLE;
  if (HAL_TIMEx_MasterConfigSynchronization(&htim7, &sMasterConfig) != HAL_OK) {
    Error_Handler();
  }
}

static void MX_TIM13_Init(void) {

  TIM_OC_InitTypeDef sConfigOC = {0};

  htim13.Instance = TIM13;
  htim13.Init.Prescaler = 83;
  htim13.Init.CounterMode = TIM_COUNTERMODE_UP;
  htim13.Init.Period = 19999;
  htim13.Init.ClockDivision = TIM_CLOCKDIVISION_DIV1;
  htim13.Init.AutoReloadPreload = TIM_AUTORELOAD_PRELOAD_DISABLE;
  if (HAL_TIM_Base_Init(&htim13) != HAL_OK) {
    Error_Handler();
  }
  if (HAL_TIM_PWM_Init(&htim13) != HAL_OK) {
    Error_Handler();
  }
  sConfigOC.OCMode = TIM_OCMODE_PWM1;
  sConfigOC.Pulse = 1500;
  sConfigOC.OCPolarity = TIM_OCPOLARITY_HIGH;
  sConfigOC.OCFastMode = TIM_OCFAST_DISABLE;
  if (HAL_TIM_PWM_ConfigChannel(&htim13, &sConfigOC, TIM_CHANNEL_1) != HAL_OK) {
    Error_Handler();
  }
  HAL_TIM_MspPostInit(&htim13);
}

static void MX_UART4_Init(void) {

  huart4.Instance = UART4;
  huart4.Init.BaudRate = 115200;
  huart4.Init.WordLength = UART_WORDLENGTH_8B;
  huart4.Init.StopBits = UART_STOPBITS_1;
  huart4.Init.Parity = UART_PARITY_NONE;
  huart4.Init.Mode = UART_MODE_TX_RX;
  huart4.Init.HwFlowCtl = UART_HWCONTROL_NONE;
  huart4.Init.OverSampling = UART_OVERSAMPLING_16;
  if (HAL_UART_Init(&huart4) != HAL_OK) {
    Error_Handler();
  }
}

static void MX_USART2_UART_Init(void) {

  huart2.Instance = USART2;
  huart2.Init.BaudRate = 115200;
  huart2.Init.WordLength = UART_WORDLENGTH_8B;
  huart2.Init.StopBits = UART_STOPBITS_1;
  huart2.Init.Parity = UART_PARITY_NONE;
  huart2.Init.Mode = UART_MODE_TX_RX;
  huart2.Init.HwFlowCtl = UART_HWCONTROL_NONE;
  huart2.Init.OverSampling = UART_OVERSAMPLING_16;
  if (HAL_UART_Init(&huart2) != HAL_OK) {
    Error_Handler();
  }
}

static void MX_USART3_UART_Init(void) {

  huart3.Instance = USART3;
  huart3.Init.BaudRate = 115200;
  huart3.Init.WordLength = UART_WORDLENGTH_8B;
  huart3.Init.StopBits = UART_STOPBITS_1;
  huart3.Init.Parity = UART_PARITY_NONE;
  huart3.Init.Mode = UART_MODE_TX_RX;
  huart3.Init.HwFlowCtl = UART_HWCONTROL_NONE;
  huart3.Init.OverSampling = UART_OVERSAMPLING_16;
  if (HAL_UART_Init(&huart3) != HAL_OK) {
    Error_Handler();
  }
}

static void MX_DMA_Init(void) {

  /* DMA controller clock enable */
  __HAL_RCC_DMA1_CLK_ENABLE();

  /* DMA interrupt init */
  /* DMA1_Stream4_IRQn interrupt configuration */
  HAL_NVIC_SetPriority(DMA1_Stream4_IRQn, 0, 0);
  HAL_NVIC_EnableIRQ(DMA1_Stream4_IRQn);
}

static void MX_GPIO_Init(void) {
  GPIO_InitTypeDef GPIO_InitStruct = {0};

  /* GPIO Ports Clock Enable */
  __HAL_RCC_GPIOE_CLK_ENABLE();
  __HAL_RCC_GPIOC_CLK_ENABLE();
  __HAL_RCC_GPIOH_CLK_ENABLE();
  __HAL_RCC_GPIOA_CLK_ENABLE();
  __HAL_RCC_GPIOB_CLK_ENABLE();
  __HAL_RCC_GPIOD_CLK_ENABLE();

  /*Configure GPIO pin Output Level */
  HAL_GPIO_WritePin(GPIOE, M1InB_Pin | M2InA_Pin | Buzzer_Pin | M1InA_Pin,
                    GPIO_PIN_RESET);

  /*Configure GPIO pin Output Level */
  HAL_GPIO_WritePin(
      GPIOC, M2InB_Pin | M3InA_Pin | M3InB_Pin | OP6_Pin | OP5_Pin | OP1_Pin,
      GPIO_PIN_RESET);

  /*Configure GPIO pin Output Level */
  HAL_GPIO_WritePin(GPIOD,
                    OP3_Pin | BnoReset_Pin | OP8_Pin | OP7_Pin | M4InA_Pin |
                        M4InB_Pin | M5InA_Pin,
                    GPIO_PIN_RESET);

  /*Configure GPIO pin Output Level */
  HAL_GPIO_WritePin(GPIOA, OP4_Pin | OP2_Pin, GPIO_PIN_RESET);

  /*Configure GPIO pin Output Level */
  HAL_GPIO_WritePin(GPIOB, M5InB_Pin | M6InA_Pin | M6InB_Pin, GPIO_PIN_RESET);

  /*Configure GPIO pins : Sen2_Pin Sen3_Pin Sen4_Pin Sen1_Pin */
  GPIO_InitStruct.Pin = Sen2_Pin | Sen3_Pin | Sen4_Pin | Sen1_Pin;
  GPIO_InitStruct.Mode = GPIO_MODE_INPUT;
  GPIO_InitStruct.Pull = GPIO_PULLUP;
  HAL_GPIO_Init(GPIOE, &GPIO_InitStruct);

  /*Configure GPIO pins : M1InB_Pin M2InA_Pin Buzzer_Pin M1InA_Pin */
  GPIO_InitStruct.Pin = M1InB_Pin | M2InA_Pin | Buzzer_Pin | M1InA_Pin;
  GPIO_InitStruct.Mode = GPIO_MODE_OUTPUT_PP;
  GPIO_InitStruct.Pull = GPIO_NOPULL;
  GPIO_InitStruct.Speed = GPIO_SPEED_FREQ_LOW;
  HAL_GPIO_Init(GPIOE, &GPIO_InitStruct);

  /*Configure GPIO pins : M2InB_Pin M3InA_Pin M3InB_Pin OP6_Pin
                           OP5_Pin OP1_Pin */
  GPIO_InitStruct.Pin =
      M2InB_Pin | M3InA_Pin | M3InB_Pin | OP6_Pin | OP5_Pin | OP1_Pin;
  GPIO_InitStruct.Mode = GPIO_MODE_OUTPUT_PP;
  GPIO_InitStruct.Pull = GPIO_NOPULL;
  GPIO_InitStruct.Speed = GPIO_SPEED_FREQ_LOW;
  HAL_GPIO_Init(GPIOC, &GPIO_InitStruct);

  /*Configure GPIO pins : Sen5_Pin Sen6_Pin Sen7_Pin En4_In_Pin */
  GPIO_InitStruct.Pin = Sen5_Pin | Sen6_Pin | Sen7_Pin | En4_In_Pin;
  GPIO_InitStruct.Mode = GPIO_MODE_INPUT;
  GPIO_InitStruct.Pull = GPIO_PULLUP;
  HAL_GPIO_Init(GPIOC, &GPIO_InitStruct);

  /*Configure GPIO pin : Sen8_Pin */
  GPIO_InitStruct.Pin = Sen8_Pin;
  GPIO_InitStruct.Mode = GPIO_MODE_INPUT;
  GPIO_InitStruct.Pull = GPIO_PULLUP;
  HAL_GPIO_Init(Sen8_GPIO_Port, &GPIO_InitStruct);

  /*Configure GPIO pins : OP3_Pin BnoReset_Pin OP8_Pin OP7_Pin
                           M4InA_Pin M4InB_Pin M5InA_Pin */
  GPIO_InitStruct.Pin = OP3_Pin | BnoReset_Pin | OP8_Pin | OP7_Pin | M4InA_Pin |
                        M4InB_Pin | M5InA_Pin;
  GPIO_InitStruct.Mode = GPIO_MODE_OUTPUT_PP;
  GPIO_InitStruct.Pull = GPIO_NOPULL;
  GPIO_InitStruct.Speed = GPIO_SPEED_FREQ_LOW;
  HAL_GPIO_Init(GPIOD, &GPIO_InitStruct);

  /*Configure GPIO pins : OP4_Pin OP2_Pin */
  GPIO_InitStruct.Pin = OP4_Pin | OP2_Pin;
  GPIO_InitStruct.Mode = GPIO_MODE_OUTPUT_PP;
  GPIO_InitStruct.Pull = GPIO_NOPULL;
  GPIO_InitStruct.Speed = GPIO_SPEED_FREQ_LOW;
  HAL_GPIO_Init(GPIOA, &GPIO_InitStruct);

  /*Configure GPIO pins : En3_In_Pin En2_In_Pin */
  GPIO_InitStruct.Pin = En3_In_Pin | En2_In_Pin;
  GPIO_InitStruct.Mode = GPIO_MODE_INPUT;
  GPIO_InitStruct.Pull = GPIO_PULLUP;
  HAL_GPIO_Init(GPIOD, &GPIO_InitStruct);

  /*Configure GPIO pins : En4_Ext_Pin En3_Ext_Pin */
  GPIO_InitStruct.Pin = En4_Ext_Pin | En3_Ext_Pin;
  GPIO_InitStruct.Mode = GPIO_MODE_IT_RISING;
  GPIO_InitStruct.Pull = GPIO_NOPULL;
  HAL_GPIO_Init(GPIOD, &GPIO_InitStruct);

  /*Configure GPIO pins : M5InB_Pin M6InA_Pin M6InB_Pin */
  GPIO_InitStruct.Pin = M5InB_Pin | M6InA_Pin | M6InB_Pin;
  GPIO_InitStruct.Mode = GPIO_MODE_OUTPUT_PP;
  GPIO_InitStruct.Pull = GPIO_NOPULL;
  GPIO_InitStruct.Speed = GPIO_SPEED_FREQ_LOW;
  HAL_GPIO_Init(GPIOB, &GPIO_InitStruct);

  /*Configure GPIO pin : En1_In_Pin */
  GPIO_InitStruct.Pin = En1_In_Pin;
  GPIO_InitStruct.Mode = GPIO_MODE_INPUT;
  GPIO_InitStruct.Pull = GPIO_PULLUP;
  HAL_GPIO_Init(En1_In_GPIO_Port, &GPIO_InitStruct);

  /*Configure GPIO pins : En2_Ext_Pin En1_Ext_Pin */
  GPIO_InitStruct.Pin = En2_Ext_Pin | En1_Ext_Pin;
  GPIO_InitStruct.Mode = GPIO_MODE_IT_RISING;
  GPIO_InitStruct.Pull = GPIO_NOPULL;
  HAL_GPIO_Init(GPIOB, &GPIO_InitStruct);

  /* EXTI interrupt init*/
  HAL_NVIC_SetPriority(EXTI9_5_IRQn, 0, 0);
  HAL_NVIC_EnableIRQ(EXTI9_5_IRQn);

}

void Error_Handler(void) {
  __disable_irq();
  while (1) {
  }
}

#ifdef USE_FULL_ASSERT
/**
 * @brief  Reports the name of the source file and the source line number
 *         where the assert_param error has occurred.
 * @param  file: pointer to the source file name
 * @param  line: assert_param error line source number
 * @retval None
 */
void assert_failed(uint8_t *file, uint32_t line) {
  /* USER CODE BEGIN 6 */
  /* User can add his own implementation to report the file name and line
     number, ex: printf("Wrong parameters value: file %s on line %d\r\n", file,
     line) */
  /* USER CODE END 6 */
}
#endif /* USE_FULL_ASSERT */
